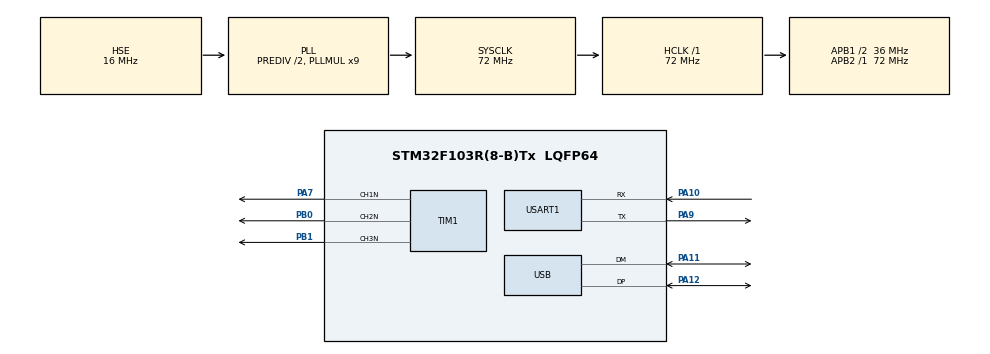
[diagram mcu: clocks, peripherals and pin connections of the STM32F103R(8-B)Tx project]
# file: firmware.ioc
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Mcu.Family=STM32F1
Mcu.Name=STM32F103R(8-B)Tx
Mcu.Package=LQFP64
NVIC.PriorityGroup=NVIC_PRIORITYGROUP_4
PA10.Mode=Asynchronous
PA10.Signal=USART1_RX
PA11.Mode=Device
PA11.Signal=USB_DM
PA12.Mode=Device
PA12.Signal=USB_DP
PA7.Mode=PWM Generation1 CH1N
PA7.Signal=TIM1_CH1N
PA9.Mode=Asynchronous
PA9.Signal=USART1_TX
PB0.Mode=PWM Generation2 CH2N
PB0.Signal=TIM1_CH2N
PB1.Mode=PWM Generation3 CH3N
PB1.Signal=TIM1_CH3N
PD0-OSC_IN.Mode=HSE-External-Oscillator
PD0-OSC_IN.Signal=RCC_OSC_IN
PD1-OSC_OUT.Mode=HSE-External-Oscillator
PD1-OSC_OUT.Signal=RCC_OSC_OUT
ProjectManager.HeapSize=0x200
ProjectManager.StackSize=0x400
ProjectManager.TargetToolchain=CMake
RCC.AHBFreq_Value=72000000
RCC.APB1CLKDivider=RCC_HCLK_DIV2
RCC.APB1Freq_Value=36000000
RCC.APB1TimFreq_Value=72000000
RCC.APB2Freq_Value=72000000
RCC.APB2TimFreq_Value=72000000
RCC.HCLKFreq_Value=72000000
RCC.HSEDivPLL=RCC_HSE_PREDIV_DIV2
RCC.HSE_VALUE=16000000
RCC.PLLMUL=RCC_PLL_MUL9
RCC.SYSCLKFreq_VALUE=72000000
RCC.SYSCLKSource=RCC_SYSCLKSOURCE_PLLCLK
RCC.USBFreq_Value=48000000
RCC.USBPrescaler=RCC_USBCLKSOURCE_PLL_DIV1_5
TIM1.Channel-PWM\ Generation1\ CH1N=TIM_CHANNEL_1
TIM1.Channel-PWM\ Generation2\ CH2N=TIM_CHANNEL_2
TIM1.Channel-PWM\ Generation3\ CH3N=TIM_CHANNEL_3
USART1.VirtualMode=VM_ASYNC
VP_SYS_VS_ND.Mode=No_Debug
VP_TIM1_VS_ClockSourceINT.Mode=Internal
board=custom

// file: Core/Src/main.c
/* USER CODE BEGIN Header */
/**
  ******************************************************************************
  * @file           : main.c
  * @brief          : Main program body
  ******************************************************************************
  * @attention
  *
  * Copyright (c) 2025 STMicroelectronics.
  * All rights reserved.
  *
  * This software is licensed under terms that can be found in the LICENSE file
  * in the root directory of this software component.
  * If no LICENSE file comes with this software, it is provided AS-IS.
  *
  ******************************************************************************
  */
/* USER CODE END Header */
#include "main.h"

/* USER CODE BEGIN Includes */
#include <stdio.h>
#include <tusb.h>
#include "tusb_config.h"

/* USER CODE END Includes */

/* USER CODE BEGIN PD */
#define EXTEN_CTR (*((uint32_t*)0x40023800))

/* USER CODE END PD */

TIM_HandleTypeDef htim1;

UART_HandleTypeDef huart1;

PCD_HandleTypeDef hpcd_USB_FS;

void SystemClock_Config(void);
static void MX_GPIO_Init(void);
static void MX_TIM1_Init(void);
static void MX_USART1_UART_Init(void);
static void MX_USB_PCD_Init(void);
/* USER CODE BEGIN PFP */

void real_main(void);

void USB_HP_CAN1_TX_IRQHandler(void)
{
      tud_int_handler(BOARD_TUD_RHPORT);
}

void USB_LP_CAN1_RX0_IRQHandler(void)
{
      tud_int_handler(BOARD_TUD_RHPORT);
}

//--------------------------------------------------------------------+
// USB CDC
//--------------------------------------------------------------------+
void cdc_task(void) {
  // connected() check for DTR bit
  // Most but not all terminal client set this when making connection
  // if ( tud_cdc_connected() )
  {
    // connected and there are data available
    if (tud_cdc_available()) {
      // read data
      char     buf[64];
      uint32_t count = tud_cdc_read(buf, sizeof(buf));
      (void)count;

      // Echo back
      // Note: Skip echo by commenting out write() and write_flush()
      // for throughput test e.g
      //    $ dd if=/dev/zero of=/dev/ttyACM0 count=10000
      tud_cdc_write(buf, count);
      tud_cdc_write_flush();
    }

    // Press on-board button to send Uart status notification
    static cdc_notify_uart_state_t uart_state = {.value = 0};

    static uint32_t btn_prev = 0;
    const uint32_t  btn      = 0;

    if ((btn_prev == 0u) && (btn != 0u)) {
      uart_state.dsr ^= 1;
      uart_state.dcd ^= 1;
      tud_cdc_notify_uart_state(&uart_state);
    }
    btn_prev = btn;
  }
}

// Invoked when cdc when line state changed e.g connected/disconnected
void tud_cdc_line_state_cb(uint8_t itf, bool dtr, bool rts) {
  (void)itf;
  (void)rts;

  if (dtr) {
    // Terminal connected
    // blink_enable = false;
    // board_led_write(true);
  } else {
    // Terminal disconnected
    // blink_enable = true;
  }
}

// Invoked when CDC interface received data from host
void tud_cdc_rx_cb(uint8_t itf) {
  (void)itf;
}

/* USER CODE END PFP */

/* USER CODE BEGIN 0 */
int _write(int fd, const char *ptr, int len) {
  // HAL_StatusTypeDef hstatus;
  // if (fd == 1 || fd == 2) {
  //   hstatus = HAL_UART_Transmit(&huart1, (const uint8_t *)ptr, len, HAL_MAX_DELAY);
  //   if (hstatus == HAL_OK) {
  //     return len;
  //   } else {
  //     return -1;
  //   }
  // }
  // return -1;
  if (!tud_cdc_write(ptr, len)) return -1;
  tud_cdc_write_flush();
  return len;
}
/* USER CODE END 0 */

int main(void)
{

  /* MCU Configuration--------------------------------------------------------*/

  /* Reset of all peripherals, Initializes the Flash interface and the Systick. */
  HAL_Init();

  /* USER CODE BEGIN Init */
  __HAL_AFIO_REMAP_SWJ_ENABLE(); // turn on debugging lmao idk why i have to manually do it

  /* USER CODE END Init */

  /* Configure the system clock */
  SystemClock_Config();

  /* USER CODE BEGIN SysInit */
  EXTEN_CTR |= (1 << 1)  // USBDPU
            |  (1 << 3); // USB5VSEL

  /* USER CODE END SysInit */

  /* Initialize all configured peripherals */
  MX_GPIO_Init();
  MX_TIM1_Init();
  MX_USART1_UART_Init();
  MX_USB_PCD_Init();
  /* USER CODE BEGIN 2 */

  // init device stack on configured roothub port
  tusb_rhport_init_t dev_init = {.role = TUSB_ROLE_DEVICE, .speed = TUSB_SPEED_AUTO};
  tusb_init(BOARD_TUD_RHPORT, &dev_init);

  /* USER CODE END 2 */

  /* Infinite loop */
  /* USER CODE BEGIN WHILE */
  while (1)
  {
    tud_task(); // tinyusb device task
    /* USER CODE END WHILE */

    /* USER CODE BEGIN 3 */
    // printf("hello world\n");
    // CDC_Transmit_FS("hello world\n", 12);
    cdc_task();
    HAL_Delay(1000);
  }
  // real_main();
  /* USER CODE END 3 */
}

void SystemClock_Config(void)
{
  RCC_OscInitTypeDef RCC_OscInitStruct = {0};
  RCC_ClkInitTypeDef RCC_ClkInitStruct = {0};
  RCC_PeriphCLKInitTypeDef PeriphClkInit = {0};

  /** Initializes the RCC Oscillators according to the specified parameters
  * in the RCC_OscInitTypeDef structure.
  */
  RCC_OscInitStruct.OscillatorType = RCC_OSCILLATORTYPE_HSE;
  RCC_OscInitStruct.HSEState = RCC_HSE_ON;
  RCC_OscInitStruct.HSEPredivValue = RCC_HSE_PREDIV_DIV2;
  RCC_OscInitStruct.HSIState = RCC_HSI_ON;
  RCC_OscInitStruct.PLL.PLLState = RCC_PLL_ON;
  RCC_OscInitStruct.PLL.PLLSource = RCC_PLLSOURCE_HSE;
  RCC_OscInitStruct.PLL.PLLMUL = RCC_PLL_MUL9;
  if (HAL_RCC_OscConfig(&RCC_OscInitStruct) != HAL_OK)
  {
    Error_Handler();
  }

  /** Initializes the CPU, AHB and APB buses clocks
  */
  RCC_ClkInitStruct.ClockType = RCC_CLOCKTYPE_HCLK|RCC_CLOCKTYPE_SYSCLK
                              |RCC_CLOCKTYPE_PCLK1|RCC_CLOCKTYPE_PCLK2;
  RCC_ClkInitStruct.SYSCLKSource = RCC_SYSCLKSOURCE_PLLCLK;
  RCC_ClkInitStruct.AHBCLKDivider = RCC_SYSCLK_DIV1;
  RCC_ClkInitStruct.APB1CLKDivider = RCC_HCLK_DIV2;
  RCC_ClkInitStruct.APB2CLKDivider = RCC_HCLK_DIV1;

  if (HAL_RCC_ClockConfig(&RCC_ClkInitStruct, FLASH_LATENCY_2) != HAL_OK)
  {
    Error_Handler();
  }
  PeriphClkInit.PeriphClockSelection = RCC_PERIPHCLK_USB;
  PeriphClkInit.UsbClockSelection = RCC_USBCLKSOURCE_PLL_DIV1_5;
  if (HAL_RCCEx_PeriphCLKConfig(&PeriphClkInit) != HAL_OK)
  {
    Error_Handler();
  }
}

static void MX_TIM1_Init(void)
{

  TIM_ClockConfigTypeDef sClockSourceConfig = {0};
  TIM_MasterConfigTypeDef sMasterConfig = {0};
  TIM_OC_InitTypeDef sConfigOC = {0};
  TIM_BreakDeadTimeConfigTypeDef sBreakDeadTimeConfig = {0};

  htim1.Instance = TIM1;
  htim1.Init.Prescaler = 0;
  htim1.Init.CounterMode = TIM_COUNTERMODE_UP;
  htim1.Init.Period = 65535;
  htim1.Init.ClockDivision = TIM_CLOCKDIVISION_DIV1;
  htim1.Init.RepetitionCounter = 0;
  htim1.Init.AutoReloadPreload = TIM_AUTORELOAD_PRELOAD_DISABLE;
  if (HAL_TIM_Base_Init(&htim1) != HAL_OK)
  {
    Error_Handler();
  }
  sClockSourceConfig.ClockSource = TIM_CLOCKSOURCE_INTERNAL;
  if (HAL_TIM_ConfigClockSource(&htim1, &sClockSourceConfig) != HAL_OK)
  {
    Error_Handler();
  }
  if (HAL_TIM_PWM_Init(&htim1) != HAL_OK)
  {
    Error_Handler();
  }
  sMasterConfig.MasterOutputTrigger = TIM_TRGO_RESET;
  sMasterConfig.MasterSlaveMode = TIM_MASTERSLAVEMODE_DISABLE;
  if (HAL_TIMEx_MasterConfigSynchronization(&htim1, &sMasterConfig) != HAL_OK)
  {
    Error_Handler();
  }
  sConfigOC.OCMode = TIM_OCMODE_PWM1;
  sConfigOC.Pulse = 0;
  sConfigOC.OCPolarity = TIM_OCPOLARITY_HIGH;
  sConfigOC.OCNPolarity = TIM_OCNPOLARITY_HIGH;
  sConfigOC.OCFastMode = TIM_OCFAST_DISABLE;
  sConfigOC.OCIdleState = TIM_OCIDLESTATE_RESET;
  sConfigOC.OCNIdleState = TIM_OCNIDLESTATE_RESET;
  if (HAL_TIM_PWM_ConfigChannel(&htim1, &sConfigOC, TIM_CHANNEL_1) != HAL_OK)
  {
    Error_Handler();
  }
  if (HAL_TIM_PWM_ConfigChannel(&htim1, &sConfigOC, TIM_CHANNEL_2) != HAL_OK)
  {
    Error_Handler();
  }
  if (HAL_TIM_PWM_ConfigChannel(&htim1, &sConfigOC, TIM_CHANNEL_3) != HAL_OK)
  {
    Error_Handler();
  }
  sBreakDeadTimeConfig.OffStateRunMode = TIM_OSSR_DISABLE;
  sBreakDeadTimeConfig.OffStateIDLEMode = TIM_OSSI_DISABLE;
  sBreakDeadTimeConfig.LockLevel = TIM_LOCKLEVEL_OFF;
  sBreakDeadTimeConfig.DeadTime = 0;
  sBreakDeadTimeConfig.BreakState = TIM_BREAK_DISABLE;
  sBreakDeadTimeConfig.BreakPolarity = TIM_BREAKPOLARITY_HIGH;
  sBreakDeadTimeConfig.AutomaticOutput = TIM_AUTOMATICOUTPUT_DISABLE;
  if (HAL_TIMEx_ConfigBreakDeadTime(&htim1, &sBreakDeadTimeConfig) != HAL_OK)
  {
    Error_Handler();
  }
  HAL_TIM_MspPostInit(&htim1);

}

static void MX_USART1_UART_Init(void)
{

  huart1.Instance = USART1;
  huart1.Init.BaudRate = 115200;
  huart1.Init.WordLength = UART_WORDLENGTH_8B;
  huart1.Init.StopBits = UART_STOPBITS_1;
  huart1.Init.Parity = UART_PARITY_NONE;
  huart1.Init.Mode = UART_MODE_TX_RX;
  huart1.Init.HwFlowCtl = UART_HWCONTROL_NONE;
  huart1.Init.OverSampling = UART_OVERSAMPLING_16;
  if (HAL_UART_Init(&huart1) != HAL_OK)
  {
    Error_Handler();
  }

}

static void MX_USB_PCD_Init(void)
{

  hpcd_USB_FS.Instance = USB;
  hpcd_USB_FS.Init.dev_endpoints = 8;
  hpcd_USB_FS.Init.speed = PCD_SPEED_FULL;
  hpcd_USB_FS.Init.low_power_enable = DISABLE;
  hpcd_USB_FS.Init.lpm_enable = DISABLE;
  hpcd_USB_FS.Init.battery_charging_enable = DISABLE;
  if (HAL_PCD_Init(&hpcd_USB_FS) != HAL_OK)
  {
    Error_Handler();
  }

}

static void MX_GPIO_Init(void)
{

  /* GPIO Ports Clock Enable */
  __HAL_RCC_GPIOD_CLK_ENABLE();
  __HAL_RCC_GPIOA_CLK_ENABLE();
  __HAL_RCC_GPIOB_CLK_ENABLE();

}

void Error_Handler(void)
{
  __disable_irq();
  while (1)
  {
  }
}
#ifdef USE_FULL_ASSERT
/**
  * @brief  Reports the name of the source file and the source line number
  *         where the assert_param error has occurred.
  * @param  file: pointer to the source file name
  * @param  line: assert_param error line source number
  * @retval None
  */
void assert_failed(uint8_t *file, uint32_t line)
{
  /* USER CODE BEGIN 6 */
  /* User can add his own implementation to report the file name and line number,
     eg: printf("Wrong parameters value: file %s on line %d\r\n", file, line) */
  /* USER CODE END 6 */
}
#endif /* USE_FULL_ASSERT */
